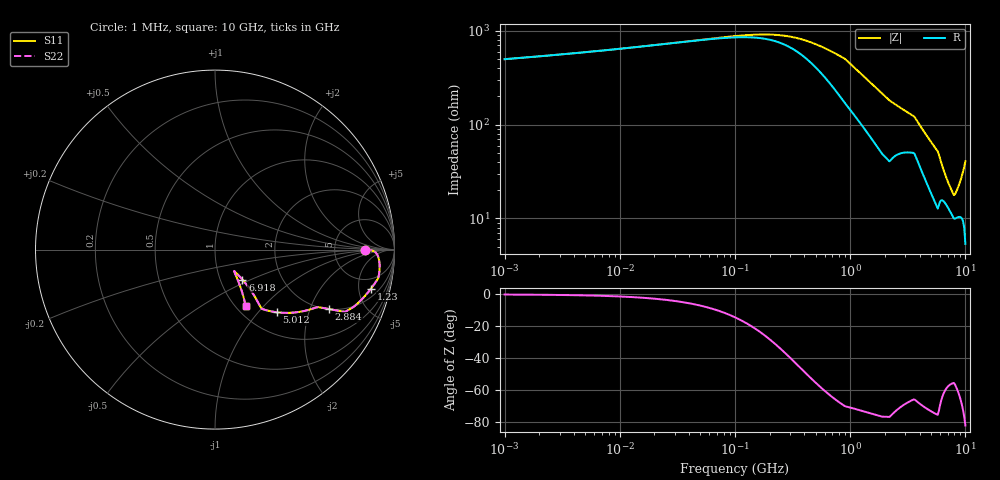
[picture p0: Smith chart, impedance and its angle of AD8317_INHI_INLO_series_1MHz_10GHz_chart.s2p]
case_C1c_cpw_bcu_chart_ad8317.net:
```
# C: cpw on plane bcu
Pac:P1 n1 gnd Num="1" Z="50 Ohm" P="0 dBm" f="1e9"
SUBST:Sub1 er="4.5" h="1.44 mm" t="35 um" tand="0.02" rho="1.72e-8" D="0"
CLIN:PAD n1 a Subst="Sub1" W="0.8 mm" S="0.49 mm" L="1.1 mm" Backside="Metal" Approx="yes"
CLIN:L1 a r1a Subst="Sub1" W="0.2032 mm" S="0.2 mm" L="0.65 mm" Backside="Metal" Approx="yes"
CSTEP:S1 r1a r1 Subst="Sub1" W1="0.2032 mm" W2="0.3 mm" S="0.7 mm" Backside="Metal"
CLIN:L2 r1 r2a Subst="Sub1" W="0.3 mm" S="0.2 mm" L="1 mm" Backside="Metal" Approx="yes"
CSTEP:S2 r2a r2 Subst="Sub1" W1="0.3 mm" W2="0.2032 mm" S="0.7 mm" Backside="Metal"
CLIN:L3 r2 c1a Subst="Sub1" W="0.2032 mm" S="0.2 mm" L="1.1 mm" Backside="Metal" Approx="yes"
C:C1 c1a c1m C="47 nF"
L:C1L c1m c1n L="0.25 nH"
R:C1R c1n c1b R="0.035 Ohm"
CLIN:L4 c1b inhi Subst="Sub1" W="0.1524 mm" S="0.2 mm" L="1.68 mm" Backside="Metal" Approx="yes"
SPfile:CHIP inhi inlo gnd File="AD8317_INHI_INLO_series_1MHz_10GHz_chart.s2p" Data="rectangular" Interpolator="linear" duringDC="open"
CLIN:L5 inlo c2b Subst="Sub1" W="0.25 mm" S="0.2 mm" L="1.7 mm" Backside="Metal" Approx="yes"
C:C2 c2b c2m C="47 nF"
L:C2L c2m c2n L="0.25 nH"
R:C2R c2n gnd R="0.035 Ohm"
R:R1 r1 R1x R="100 Ohm" Temp="26.85"
L:R1L R1x gnd L="0.25 nH"
R:R2 r2 R2x R="100 Ohm" Temp="26.85"
L:R2L R2x gnd L="0.25 nH"
.SP:SP1 Type="log" Start="1e6" Stop="1e10" Points="401"
```
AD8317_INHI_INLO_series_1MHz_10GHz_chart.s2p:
! AD8317 input impedance model 'chart', 1 MHz - 10 GHz (see ad8317_input_model.py)
! Reference impedance 50 ohm. INLO is ac-coupled RF common.
! 2-port series element Zin between port1 (INHI) and port2 (INLO). Connect to rfsim ports 2 and 3.
# HZ S RI R 50
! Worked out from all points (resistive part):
!   401 points, 1 MHz to 10 GHz, reference 50 ohm
!   read as one part in series: R = 502 ohm at 1.047 MHz
!   S11 on the Smith chart (normalised r, x): 1 MHz: 11, -0; 1.23 GHz: 3.06, -6.74; 2.884 GHz: 2.00, -2.72; 5.012 GHz: 1.38, -1.27; 6.918 GHz: 1.27, -0.45; 10 GHz: 1.11, -0.81
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1000000  0.8333 -0.000305  0.1667 0.000305  0.1667 0.000305  0.8333 -0.000305
1.023293e8  0.9009 -0.0234  0.0991 0.0234  0.0991 0.0234  0.9009 -0.0234
3.801894e8  0.9166 -0.0762  0.0834 0.0762  0.0834 0.0762  0.9166 -0.0762
1.230269e9  0.869 -0.2177  0.131 0.2177  0.131 0.2177  0.869 -0.2177
2.137962e9  0.7339 -0.3416  0.2661 0.3416  0.2661 0.3416  0.7339 -0.3416
2.884032e9  0.6342 -0.3312  0.3658 0.3312  0.3658 0.3312  0.6342 -0.3312
5.011872e9  0.3442 -0.3493  0.6558 0.3493  0.6558 0.3493  0.3442 -0.3493
5.754399e9  0.2606 -0.3303  0.7394 0.3303  0.7394 0.3303  0.2606 -0.3303
6.91831e9  0.1525 -0.1666  0.8475 0.1666  0.8475 0.1666  0.1525 -0.1666
8.128305e9  0.1074 -0.123  0.8926 0.123  0.8926 0.123  0.1074 -0.123
1e10  0.1721 -0.317  0.8279 0.317  0.8279 0.317  0.1721 -0.317
